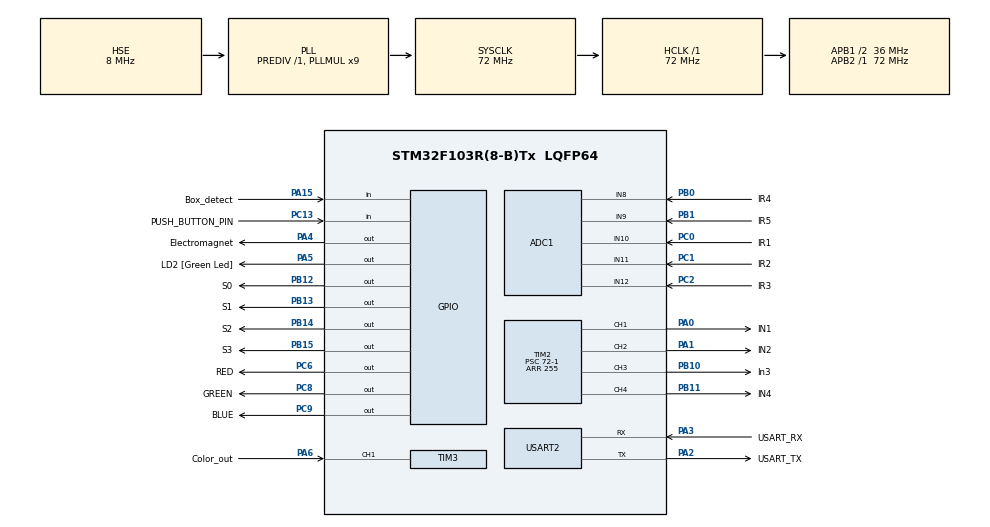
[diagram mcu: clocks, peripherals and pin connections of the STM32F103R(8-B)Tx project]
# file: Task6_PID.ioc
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ADC1.Channel-0\#ChannelRegularConversion=ADC_CHANNEL_10
ADC1.Channel-1\#ChannelRegularConversion=ADC_CHANNEL_11
ADC1.Channel-2\#ChannelRegularConversion=ADC_CHANNEL_12
ADC1.Channel-3\#ChannelRegularConversion=ADC_CHANNEL_8
ADC1.Channel-4\#ChannelRegularConversion=ADC_CHANNEL_9
ADC1.ContinuousConvMode=ENABLE
ADC1.NbrOfConversion=5
ADC1.NbrOfConversionFlag=1
ADC1.Rank-0\#ChannelRegularConversion=1
ADC1.Rank-1\#ChannelRegularConversion=2
ADC1.Rank-2\#ChannelRegularConversion=3
ADC1.Rank-3\#ChannelRegularConversion=4
ADC1.Rank-4\#ChannelRegularConversion=5
ADC1.SamplingTime-0\#ChannelRegularConversion=ADC_SAMPLETIME_55CYCLES_5
ADC1.SamplingTime-1\#ChannelRegularConversion=ADC_SAMPLETIME_55CYCLES_5
ADC1.SamplingTime-2\#ChannelRegularConversion=ADC_SAMPLETIME_55CYCLES_5
ADC1.SamplingTime-3\#ChannelRegularConversion=ADC_SAMPLETIME_55CYCLES_5
ADC1.SamplingTime-4\#ChannelRegularConversion=ADC_SAMPLETIME_55CYCLES_5
ADC1.master=1
Dma.ADC1.0.Direction=DMA_PERIPH_TO_MEMORY
Dma.ADC1.0.Instance=DMA1_Channel1
Dma.ADC1.0.MemDataAlignment=DMA_MDATAALIGN_HALFWORD
Dma.ADC1.0.MemInc=DMA_MINC_ENABLE
Dma.ADC1.0.Mode=DMA_CIRCULAR
Dma.ADC1.0.PeriphDataAlignment=DMA_PDATAALIGN_HALFWORD
Dma.ADC1.0.PeriphInc=DMA_PINC_DISABLE
Dma.ADC1.0.Priority=DMA_PRIORITY_LOW
Dma.Request0=ADC1
Mcu.Family=STM32F1
Mcu.Name=STM32F103R(8-B)Tx
Mcu.Package=LQFP64
NVIC.ADC1_2_IRQn=true\:0\:0\:false\:false\:true\:true\:true\:true
NVIC.DMA1_Channel1_IRQn=true\:0\:0\:false\:false\:true\:false\:true\:true
NVIC.PriorityGroup=NVIC_PRIORITYGROUP_4
NVIC.TIM3_IRQn=true\:0\:0\:false\:false\:true\:true\:true\:true
PA0-WKUP.GPIO_Label=IN1
PA0-WKUP.Signal=S_TIM2_CH1_ETR
PA1.GPIO_Label=IN2
PA1.Signal=S_TIM2_CH2
PA13.GPIO_Label=TMS
PA13.Mode=Serial_Wire
PA13.Signal=SYS_JTMS-SWDIO
PA14.GPIO_Label=TCK
PA14.Mode=Serial_Wire
PA14.Signal=SYS_JTCK-SWCLK
PA15.GPIO_Label=Box_detect
PA15.Signal=GPIO_Input
PA2.GPIO_Label=USART_TX
PA2.GPIO_Mode=GPIO_MODE_AF_PP
PA2.GPIO_PuPd=GPIO_NOPULL
PA2.GPIO_Speed=GPIO_SPEED_FREQ_LOW
PA2.Mode=Asynchronous
PA2.Signal=USART2_TX
PA3.GPIO_Label=USART_RX
PA3.GPIO_Mode=GPIO_MODE_AF_PP
PA3.GPIO_PuPd=GPIO_NOPULL
PA3.GPIO_Speed=GPIO_SPEED_FREQ_LOW
PA3.Mode=Asynchronous
PA3.Signal=USART2_RX
PA4.GPIO_Label=Electromagnet
PA4.Signal=GPIO_Output
PA5.GPIO_Label=LD2 [Green Led]
PA5.GPIO_ModeDefaultOutputPP=GPIO_MODE_OUTPUT_PP
PA5.GPIO_PuPd=GPIO_NOPULL
PA5.GPIO_Speed=GPIO_SPEED_FREQ_LOW
PA5.Signal=GPIO_Output
PA6.GPIO_Label=Color_out
PA6.Signal=S_TIM3_CH1
PB0.GPIO_Label=IR4
PB0.Signal=ADCx_IN8
PB1.GPIO_Label=IR5
PB1.Signal=ADCx_IN9
PB10.GPIO_Label=In3
PB10.Signal=S_TIM2_CH3
PB11.GPIO_Label=IN4
PB11.Signal=S_TIM2_CH4
PB12.GPIO_Label=S0
PB12.Signal=GPIO_Output
PB13.GPIO_Label=S1
PB13.Signal=GPIO_Output
PB14.GPIO_Label=S2
PB14.Signal=GPIO_Output
PB15.GPIO_Label=S3
PB15.Signal=GPIO_Output
PB3.GPIO_Label=SWO
PB3.Signal=SYS_JTDO-TRACESWO
PC0.GPIO_Label=IR1
PC0.Signal=ADCx_IN10
PC1.GPIO_Label=IR2
PC1.Signal=ADCx_IN11
PC13-TAMPER-RTC.GPIO_Label=PUSH_BUTTON_PIN
PC13-TAMPER-RTC.GPIO_PuPd=GPIO_PULLUP
PC13-TAMPER-RTC.Signal=GPIO_Input
PC14-OSC32_IN.Mode=LSE-External-Oscillator
PC14-OSC32_IN.Signal=RCC_OSC32_IN
PC15-OSC32_OUT.Mode=LSE-External-Oscillator
PC15-OSC32_OUT.Signal=RCC_OSC32_OUT
PC2.GPIO_Label=IR3
PC2.Signal=ADCx_IN12
PC6.GPIO_Label=RED
PC6.Signal=GPIO_Output
PC8.GPIO_Label=GREEN
PC8.Signal=GPIO_Output
PC9.GPIO_Label=BLUE
PC9.Signal=GPIO_Output
PD0-OSC_IN.Mode=HSE-External-Clock-Source
PD0-OSC_IN.Signal=RCC_OSC_IN
PD1-OSC_OUT.Mode=HSE-External-Clock-Source
PD1-OSC_OUT.Signal=RCC_OSC_OUT
ProjectManager.HeapSize=0x200
ProjectManager.StackSize=0x400
ProjectManager.TargetToolchain=STM32CubeIDE
RCC.ADCPresc=RCC_ADCPCLK2_DIV6
RCC.AHBFreq_Value=72000000
RCC.APB1CLKDivider=RCC_HCLK_DIV2
RCC.APB1Freq_Value=36000000
RCC.APB1TimFreq_Value=72000000
RCC.APB2Freq_Value=72000000
RCC.APB2TimFreq_Value=72000000
RCC.HCLKFreq_Value=72000000
RCC.PLLMUL=RCC_PLL_MUL9
RCC.PLLSourceVirtual=RCC_PLLSOURCE_HSE
RCC.RTCClockSelection=RCC_RTCCLKSOURCE_LSE
RCC.SYSCLKFreq_VALUE=72000000
RCC.SYSCLKSource=RCC_SYSCLKSOURCE_PLLCLK
RCC.USBFreq_Value=72000000
SH.ADCx_IN10.0=ADC1_IN10,IN10
SH.ADCx_IN11.0=ADC1_IN11,IN11
SH.ADCx_IN12.0=ADC1_IN12,IN12
SH.ADCx_IN8.0=ADC1_IN8,IN8
SH.ADCx_IN9.0=ADC1_IN9,IN9
SH.S_TIM2_CH1_ETR.0=TIM2_CH1,PWM Generation1 CH1
SH.S_TIM2_CH2.0=TIM2_CH2,PWM Generation2 CH2
SH.S_TIM2_CH3.0=TIM2_CH3,PWM Generation3 CH3
SH.S_TIM2_CH4.0=TIM2_CH4,PWM Generation4 CH4
SH.S_TIM3_CH1.0=TIM3_CH1,Input_Capture1_from_TI1
TIM2.Channel-PWM\ Generation1\ CH1=TIM_CHANNEL_1
TIM2.Channel-PWM\ Generation2\ CH2=TIM_CHANNEL_2
TIM2.Channel-PWM\ Generation3\ CH3=TIM_CHANNEL_3
TIM2.Channel-PWM\ Generation4\ CH4=TIM_CHANNEL_4
TIM2.Period=255
TIM2.Prescaler=72-1
TIM3.Channel-Input_Capture1_from_TI1=TIM_CHANNEL_1
USART2.VirtualMode=VM_ASYNC
board=NUCLEO-F103RB

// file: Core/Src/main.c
/*
 * Team Id: 2731
 * Author List: Mahesh, Vallari, Tushar, Saras
 * Filename: CB_TASK6_#2731
 * Theme: eYRC 2025-26: CropDrop Bot (CB)
 * Functions: main, SystemClock_Config, MX_GPIO_Init, MX_DMA_Init, MX_ADC1_Init,
 * MX_TIM2_Init, MX_TIM3_Init, MX_USART2_UART_Init, Motor_Forward, Motor_Reverse,
 * Motor_Stop, Motor_Turn_Left, Motor_Turn_Right, Motor_180_Turn,
 * Calibrate_IR_Sensors, Read_Line_Sensors, Compute_Line_Error,
 * Line_PID_Control, Print_Sensor_Binary, Set_LED_Color,
 * Handle_Object_Detection, Handle_Drop_Point, RGB_Off, RGB_Yellow, RGB_Process,
 * Error_Handler
 * Global Variables: adcBuffer, irMin, irMax, irThreshold, sensorNorm, sensorBinary,
 * robotState, currentLineType, lineError, pid variables, junction_count,
 * junction_debounced, total_delivered, hasPackage, colorRed, colorGreen, colorBlue
 */
/* USER CODE BEGIN Header */
/**
  ******************************************************************************
  * @file           : main.c
  * @brief          : CropDrop Bot - Line Following with Pick and Place
  ******************************************************************************
  * @attention
  *
  *
  * Copyright (c) 2025 STMicroelectronics.
  * All rights reserved.
  *
  * This software is licensed under terms that can be found in the LICENSE file
  * in the root directory of this software component.
  * If no LICENSE file comes with this software, it is provided AS-IS.
  *
  ******************************************************************************
  */
/* USER CODE END Header */
#include "main.h"

/* USER CODE BEGIN Includes */
#include<stdio.h>
#include<string.h>
#include "Color.h"

/* USER CODE END Includes */

/* USER CODE BEGIN PD */
#define PWM_MAX 255              // Maximum PWM value for motors

// Left Motor PWM channels (L298N)
#define LM_IN1 TIM_CHANNEL_1     // Left motor forward pin
#define LM_IN2 TIM_CHANNEL_2     // Left motor reverse pin

// Right Motor PWM channels (L298N)
#define RM_IN1 TIM_CHANNEL_3     // Right motor forward pin
#define RM_IN2 TIM_CHANNEL_4     // Right motor reverse pin

#define TURN_SPEED     110       // Speed used while turning
#define STOP_TIME_MS   1000      // Delay time for stopping

/* USER CODE END PD */

ADC_HandleTypeDef hadc1;
DMA_HandleTypeDef hdma_adc1;

TIM_HandleTypeDef htim2;
TIM_HandleTypeDef htim3;

UART_HandleTypeDef huart2;

/* USER CODE BEGIN PV */
volatile uint16_t adcBuffer[5];   // Raw ADC values from 5 IR sensors
char uartBuf[100];                // UART debug buffer

uint16_t irMin[5];                // Minimum IR calibration values
uint16_t irMax[5];                // Maximum IR calibration values
uint16_t irThreshold[5];          // Mid threshold for line detection

uint16_t sensorNorm[5];           // Normalized IR value (0–1000)
uint8_t  sensorBinary[5];         // Binary line detection (1=line)
int8_t   sensorWeight[5] = { -2, -1, 0, 1, 2 }; // Weights for PID error

uint8_t ledBlinkRequest = 0;      // LED blink flag
uint32_t ledBlinkStart = 0;       // LED blink start time

uint8_t hasPackage = 0;           // 1 if robot is carrying box
uint32_t colorRed, colorGreen, colorBlue; // Color sensor values

uint8_t junction_count = 0;       // Counts junctions passed
uint8_t junction_debounced = 0;   // Prevents double count
uint8_t total_delivered = 0;      // Total boxes delivered

typedef enum {
    DIR_STRAIGHT = 0,   // Go straight
    DIR_LEFT,          // Turn left
    DIR_RIGHT          // Turn right
} Direction_t;

typedef enum {
    STATE_PID,             // Normal line following
    STATE_PEEK_FORWARD,    // Small forward movement before turn
    STATE_STOP_BEFORE_TURN,// Not used (reserved)
    STATE_TURNING,         // Turning state
    ALL_BLACK_FORWARD,     // Forward on black
    ALL_BLACK_CHECK,       // Check dead end
    INVERSE_LINE,          // Black on white line
    STATE_OBJECT_DETECTED, // Box detected
    STATE_PICKING,         // Picking box
    STATE_FINAL_DROP       // Dropping box
} RobotState_t;

typedef enum {
    LINE_WHITE_ON_BLACK = 0, // White line on black floor
    LINE_BLACK_ON_WHITE      // Black line on white floor
} LineType_t;
LineType_t currentLineType = LINE_WHITE_ON_BLACK;
uint8_t onLine = 0;
//pid values
float lineError = 0;
float Kp = 0.25f;
float Ki = 0.002f;
float Kd = 0.2f;
float pid_P = 0, pid_I = 0, pid_D = 0;
float previousError = 0;
float pidOutput = 0;

/* Base speed settings */
uint8_t currentspeed = 50;
uint8_t baseSpeed = 130;     // cruising speed
uint8_t maxSpeed  = 200;     // safety limit
uint8_t Bval = 0;
uint8_t inSharpTurn = 0;
uint8_t bit_sensor;

/* ⭐ ADDED: Pick and Place variables */
uint8_t hasPackage = 0;
uint32_t colorRed = 0, colorGreen = 0, colorBlue = 0;
uint32_t lastPrintTick = 0;

/* ⭐ ADDED: Junction tracking variables */
uint8_t junction_count = 0;
uint8_t junction_debounced = 0;
uint8_t total_delivered = 0;    // ⭐ Delivery Sequence Tracker
uint8_t peekpattern=0;

/* ⭐ ADDED: Printf support */
int _write(int file, char *ptr, int len)
{
    HAL_UART_Transmit(&huart2, (uint8_t*)ptr, len, HAL_MAX_DELAY);
    return len;
}

/* USER CODE END PV */

void SystemClock_Config(void);
static void MX_GPIO_Init(void);
static void MX_DMA_Init(void);
static void MX_USART2_UART_Init(void);
static void MX_ADC1_Init(void);
static void MX_TIM2_Init(void);
static void MX_TIM3_Init(void);
/* USER CODE BEGIN PFP */
void Motor_180_Turn(void);
void Motor_Stop(void);
void Motor_Forward(uint8_t left_speed, uint8_t right_speed);
void Motor_Reverse(uint8_t left_speed, uint8_t right_speed);
void Motor_Turn_Left(uint8_t left_speed, uint8_t right_speed);
void Motor_Turn_Right(uint8_t left_speed, uint8_t right_speed);
void Calibrate_IR_Sensors(void);
void Read_Line_Sensors(void);
float Compute_Line_Error(void);
void Line_PID_Control(void);
void Print_Sensor_Binary(void);
void side_calibration(void);
void Handle_Object_Detection(void);
void Handle_Drop_Point(void);
/* USER CODE END PFP */

/*
 * Function Name: main
 * Input: None
 * Output: int
 * Logic:
 *  - Initializes peripherals
 *  - Calibrates IR sensors
 *  - Runs finite state machine:
 *      PID → Junction → Pick → Drop → Return
 * Example Call: Called by startup code
 */
int main(void)
{

  /* MCU Configuration--------------------------------------------------------*/

  /* Reset of all peripherals, Initializes the Flash interface and the Systick. */
  HAL_Init();

  /* Configure the system clock */
  SystemClock_Config();

  /* Initialize all configured peripherals */
  MX_GPIO_Init();
  MX_DMA_Init();
  MX_USART2_UART_Init();
  MX_ADC1_Init();
  MX_TIM2_Init();
  MX_TIM3_Init();
  /* USER CODE BEGIN 2 */
  HAL_ADC_Start_DMA(&hadc1, (uint32_t*)adcBuffer, 5);
  HAL_TIM_PWM_Start(&htim2, TIM_CHANNEL_1);
  HAL_TIM_PWM_Start(&htim2, TIM_CHANNEL_2);
  HAL_TIM_PWM_Start(&htim2, TIM_CHANNEL_3);
  HAL_TIM_PWM_Start(&htim2, TIM_CHANNEL_4);

  // ⭐ ADDED: Initialize Color Sensor
  Color_Init(&htim3);

  HAL_Delay(500);          // wait before calibration
  Calibrate_IR_Sensors();

  printf("=== CropDrop Bot Ready ===\r\n");
  /* USER CODE END 2 */

  /* Infinite loop */
  while (1)
  {

    /* USER CODE BEGIN 3 */
    Read_Line_Sensors();
//    Print_Sensor_Binary();
    lineError = Compute_Line_Error();

    if (HAL_GetTick() - lastPrintTick > 100)
    {
        Print_Sensor_Binary();
        lastPrintTick = HAL_GetTick();
    }

    if(currentspeed < baseSpeed){
        currentspeed++;
    }

    /* ========== STATE:  PID LINE FOLLOWING ========== */
    if (robotState == STATE_PID)
    {
        // ⭐ 1. Check for object detection at pickup point
        uint8_t ir_state = HAL_GPIO_ReadPin(Box_detect_GPIO_Port, Box_detect_Pin);

        // ONLY pick up if we haven't finished all 3 deliveries
        if (ir_state == 0 && !hasPackage && currentLineType == LINE_WHITE_ON_BLACK && total_delivered < 3)
        {
            robotState = STATE_OBJECT_DETECTED;
            Motor_Stop();
            HAL_Delay(200);
            continue;
        }

        // ⭐ 2. Inverse line transition (Toggle line type)
        if(bit_sensor == 0b11011 || bit_sensor == 0b10001 ||
        		bit_sensor == 0b11101 || bit_sensor == 0b10111 ||
				bit_sensor == 0b11001 || bit_sensor == 0b10011)
        {
           if (currentLineType == LINE_WHITE_ON_BLACK)
        	   currentLineType = LINE_BLACK_ON_WHITE;
           else
             currentLineType = LINE_WHITE_ON_BLACK;
           	   printf("Line type switched!\r\n");

           	   // ⭐ FIX 1: Shorter jump to prevent drifting off the line
//                    Motor_Forward(baseSpeed, baseSpeed);
//                    HAL_Delay(60);
           	   robotState = STATE_PID;
           	   pid_I = 0;
           	   previousError = 0;
           	   junction_count = 0;
           	   junction_debounced = 1;
                    // ⭐ FIX 2: Force an immediate fresh sensor read so PID calculates correctly
           	   Read_Line_Sensors();
           	   lineError = Compute_Line_Error();
           	   continue;
        }

        // ⭐ 3. INVERSE LINE LOGIC (Black line on White floor)
        if (currentLineType == LINE_BLACK_ON_WHITE)
        {
            // Reset debounce if safely on a straight line
            if (bit_sensor == 0b00100 || bit_sensor == 0b01110 || bit_sensor == 0b00000) {
                junction_debounced = 0;
            }

            // Drop Box Detection
            // Check for drop box ONLY if we have passed the required junction
            if (hasPackage) {
                uint8_t valid_drop = 0;
                if (total_delivered == 0 && junction_count >= 2) valid_drop = 1; // Box 1 -> Point C
                if (total_delivered == 1 && junction_count >= 3) valid_drop = 1; // Box 2 -> Point D
                if (total_delivered == 2 && junction_count >= 1) valid_drop = 1; // Box 3 -> Point B

                if (valid_drop && (bit_sensor == 0b01100)) {
                    printf("Black Drop Box Detected!\r\n");
                    Motor_Stop();
                    robotState = STATE_FINAL_DROP;
                    stateStartTime = HAL_GetTick();
                    continue;
                }
            }

            // Junction Detection (Left, Right, or T-junction)
            if (!junction_debounced && (
                bit_sensor == 0b11100 || bit_sensor == 0b11110 || // Left
                bit_sensor == 0b00111 || bit_sensor == 0b01111 || // Right
                bit_sensor == 0b11111))                           // Full Cross / T
            {
                // If heading to drop box, blind the bot to junctions after making the final turn
                uint8_t blind = 0;
                if (hasPackage) {
                    if (total_delivered == 0 && junction_count >= 2) blind = 1;
                    if (total_delivered == 1 && junction_count >= 3) blind = 1;
                    if (total_delivered == 2 && junction_count >= 1) blind = 1;
                }
                if (blind) {
                    Line_PID_Control();
                    continue;
                }

                junction_count++;
                junction_debounced = 1;
                printf("Junction %d detected!\r\n", junction_count);

                if (hasPackage) {
                    // ⭐ BOX 1 ROUTING (Point C)
                    if (total_delivered == 0) {
                        if (junction_count == 2) {
                            printf("2nd Junction! Taking Left to Point C.\r\n");
                            Motor_Stop(); HAL_Delay(50);
                            storedDirection = DIR_LEFT;
                            stateStartTime = HAL_GetTick();
                            robotState = STATE_PEEK_FORWARD;
                            continue;
                        } else {
                            printf("Junction 1: Going straight\r\n");
                            Motor_Forward(baseSpeed, baseSpeed); HAL_Delay(150);
                            continue;
                        }
                    }
                    // ⭐ BOX 2 ROUTING (Point D)
                    else if (total_delivered == 1) {
                        if (junction_count == 3) {
                            printf("3rd Junction! Taking Right to Point D.\r\n");
                            Motor_Stop(); HAL_Delay(50);
                            storedDirection = DIR_RIGHT;
                            stateStartTime = HAL_GetTick();
                            robotState = STATE_PEEK_FORWARD;
                            continue;
                        } else {
                            printf("Junction %d: Going straight\r\n", junction_count);
                            Motor_Forward(baseSpeed, baseSpeed); HAL_Delay(150);
                            continue;
                        }
                    }
                    // ⭐ BOX 3 ROUTING (Point B)
                    else if (total_delivered == 2) {
                        if (junction_count == 1) {
                            printf("1st Junction! Taking Right to Point B.\r\n");
                            Motor_Stop(); HAL_Delay(50);
                            storedDirection = DIR_RIGHT;
                            stateStartTime = HAL_GetTick();
                            robotState = STATE_PEEK_FORWARD;
                            continue;
                        }
                    }
                } else {
                    // ⭐ RETURNING EMPTY
                    if (junction_count == 1) {
                        if (total_delivered == 1) {
                            printf("Returning from Point C! Taking Right.\r\n");
                            Motor_Stop(); HAL_Delay(50); storedDirection = DIR_RIGHT; stateStartTime = HAL_GetTick(); robotState = STATE_PEEK_FORWARD; continue;
                        }
                        else if (total_delivered == 2) {
                            printf("Returning from Point D! Taking Left.\r\n");
                            Motor_Stop(); HAL_Delay(50); storedDirection = DIR_LEFT; stateStartTime = HAL_GetTick(); robotState = STATE_PEEK_FORWARD; continue;
                        }
                        else if (total_delivered == 3) {
                            printf("Returning from Point B! Taking Left.\r\n");
                            Motor_Stop(); HAL_Delay(50); storedDirection = DIR_LEFT; stateStartTime = HAL_GetTick(); robotState = STATE_PEEK_FORWARD; continue;
                        }
                    } else {
                        printf("Return Trip: Ignoring junction, going straight\r\n");
                        Motor_Forward(baseSpeed, baseSpeed); HAL_Delay(150);
                        continue;
                    }
                }
            }

            // Normal PID for Inverse Line
            Line_PID_Control();
            continue;
        }

        // ⭐ 4. NORMAL LINE LOGIC (White line on Black floor)
        if (currentLineType == LINE_WHITE_ON_BLACK)
        {

            // ⭐ FINAL STOP & NODE A CROSSING
            if (bit_sensor == 0b01110) {
                if (total_delivered == 3 && !hasPackage) {
                    printf("MISSION ACCOMPLISHED! Returned to Point A.\r\n");
                    while(1) {
                        Motor_Stop();
                        // Flash LEDs rapidly to celebrate
                        HAL_GPIO_WritePin(GPIOC, RED_Pin | GREEN_Pin | BLUE_Pin, GPIO_PIN_SET);
                        HAL_Delay(200);
                        HAL_GPIO_WritePin(GPIOC, RED_Pin | GREEN_Pin | BLUE_Pin, GPIO_PIN_RESET);
                        HAL_Delay(200);
                    }
                } else {
                    // We are driving past Node A to get the next box or deliver one.
                    // Jump over it safely so it isn't mistaken for a sharp corner!
                    Motor_Forward(baseSpeed, baseSpeed);
                    HAL_Delay(150);
                    continue;
                }
            }

            // Sharp left turn detection
            if (bit_sensor == 0b11100 || bit_sensor == 0b11000 || bit_sensor == 0b10000 || bit_sensor == 0b11110)
            {
                storedDirection = DIR_LEFT;
                robotState = STATE_PEEK_FORWARD;
                stateStartTime = HAL_GetTick();
                continue;
            }
            // Sharp right turn detection
            if (bit_sensor == 0b00111 || bit_sensor == 0b00011 || bit_sensor == 0b00001 || bit_sensor == 0b01111)
            {
                storedDirection = DIR_RIGHT;
                robotState = STATE_PEEK_FORWARD;
                stateStartTime = HAL_GetTick();
                continue;
            }
        	// Detect "No Line" (All sensors read 0 / Black)
        	if (bit_sensor == 0b00000) {
        		robotState = ALL_BLACK_CHECK;
        		stateStartTime = HAL_GetTick();
        		continue;
        	}

        }

        // Normal PID control for White on Black
        Line_PID_Control();
    } // <-- (THIS WAS THE MISSING CLOSING BRACE!)

    else if (robotState == ALL_BLACK_CHECK)
    {
            // 1. "Peek" forward
    	 	Motor_Forward(80, 80);
    	 	HAL_Delay(100);
    		Motor_Stop();
            HAL_Delay(100);

            // 2. Dash Line Condition: If we find the line again quickly, it was just a gap!
            if (bit_sensor != 0b00000) {
                robotState = STATE_PID;
                pid_I = 0;
                previousError = 0;
                continue;
            }

            // 3. Dead End Condition: If X milliseconds pass and STILL no line, turn around.
            // (You may need to tune '250' depending on your bot's speed and the gap size)
            if (HAL_GetTick() - stateStartTime > 250) {
                Motor_Stop();
                HAL_Delay(100); // Brief pause to stabilize
                printf("Dead End Detected! Turning around...\r\n");

                // Execute your existing 180 degree turn function
                Motor_180_Turn();

                // Reset and go back to normal line following
                robotState = STATE_PID;
                pid_I = 0;
                previousError = 0;
            }
            continue;
    }
    /* ⭐ ADDED: STATE: OBJECT DETECTED */
    else if (robotState == STATE_OBJECT_DETECTED)
    {
        Handle_Object_Detection();
        continue;
    }

    /* ⭐ ADDED: STATE: PICKING */
    else if (robotState == STATE_PICKING)
    {
        if (HAL_GetTick() - stateStartTime > 1000)  // Wait 1 sec for pickup
        {
            printf("Package picked!\r\n");
            hasPackage = 1;
            robotState = STATE_PID;
            pid_I = 0;
            previousError = 0;
        }
        continue;
    }

    /* ⭐ FINAL STATE: FINAL DROP (ALL BLACK ZONE) */
    else if (robotState == STATE_FINAL_DROP)
    {
        Motor_Stop();

        // safety delay to stabilize bot
        if (HAL_GetTick() - stateStartTime < 300)
            continue;

        printf("Dropping package at destination...\r\n");
        HAL_GPIO_WritePin(Electromagnet_GPIO_Port, Electromagnet_Pin, GPIO_PIN_RESET);   // MAGNET OFF

        // ⭐ Stop for 3 seconds
        HAL_Delay(3000);

        total_delivered++; // Count the delivery!

        printf("Package %d Dropped. Turning 180...\r\n", total_delivered);

        // Turn 180 and return
        Motor_180_Turn();

        hasPackage = 0;
        junction_count = 0;
        junction_debounced = 0;

        // Resume PID line following (it will track back to the white-on-black zone)
        robotState = STATE_PID;
        pid_I = 0;
        previousError = 0;
        continue;
    }

    /* ========== STATE: INVERSE LINE (STOP) ========== */
    else if(robotState == INVERSE_LINE)
    {
        Motor_Stop();
        HAL_GPIO_WritePin(Electromagnet_GPIO_Port, Electromagnet_Pin, GPIO_PIN_RESET);
        printf("End of track!\r\n");
        continue;
    }

    /* ========== STATE:  PEEK FORWARD ========== */
    /* ========== STATE:  PEEK FORWARD ========== */
        else if (robotState == STATE_PEEK_FORWARD)
        {
            // ⭐ FIX 3: Intercept false turns! If we hit the transition at an angle,
            // it triggers a turn. This catches it, switches modes, and aborts the turn.
            if(bit_sensor == 0b11011 || bit_sensor == 0b10001 ||
               bit_sensor == 0b11101 || bit_sensor == 0b10111 ||
               bit_sensor == 0b11001 || bit_sensor == 0b10011)
            {
                if (currentLineType == LINE_WHITE_ON_BLACK) currentLineType = LINE_BLACK_ON_WHITE;
                else currentLineType = LINE_WHITE_ON_BLACK;

                printf("Transition hit at angle! Aborting turn.\r\n");

//                Motor_Forward(baseSpeed, baseSpeed);
//                HAL_Delay(60);

                robotState = STATE_PID;
                pid_I = 0; previousError = 0;
                junction_count = 0; junction_debounced = 1;

                Read_Line_Sensors();
                lineError = Compute_Line_Error();
                continue;
            }

            Motor_Forward(80, 80);

            if (HAL_GetTick() - stateStartTime > 100)
            {
                robotState = STATE_TURNING;
                stateStartTime = HAL_GetTick();
            }
            continue;
        }

    /* ========== STATE: TURNING ========== */
    else if (robotState == STATE_TURNING && currentLineType == LINE_WHITE_ON_BLACK)
    {
        if (storedDirection == DIR_LEFT)
            Motor_Turn_Left(50, 180);
        else
            Motor_Turn_Right(180, 50);

        if (HAL_GetTick() - stateStartTime > 150) {
            if (sensorBinary[2])   // center sensor found line
            {
                Motor_Stop();
                pid_I = 0;
                previousError = 0;
                storedDirection = DIR_STRAIGHT;
                robotState = STATE_PID;
            }
        }
        continue;
    }
    else if (robotState == STATE_TURNING)
    {
        if (storedDirection == DIR_LEFT)
            Motor_Turn_Left(baseSpeed, baseSpeed);
        else
            Motor_Turn_Right(baseSpeed, baseSpeed);

        if (HAL_GetTick() - stateStartTime > 200) {
            if (sensorBinary[2])   // center sensor found line
            {
                Motor_Stop();
                pid_I = 0;
                previousError = 0;
                storedDirection = DIR_STRAIGHT;
                robotState = STATE_PID;
            }
        }
        continue;
    }

  } // <-- End of while(1) loop
  /* USER CODE END 3 */
}

void SystemClock_Config(void)
{
  RCC_OscInitTypeDef RCC_OscInitStruct = {0};
  RCC_ClkInitTypeDef RCC_ClkInitStruct = {0};
  RCC_PeriphCLKInitTypeDef PeriphClkInit = {0};

  /** Initializes the RCC Oscillators according to the specified parameters
  * in the RCC_OscInitTypeDef structure.
  */
  RCC_OscInitStruct.OscillatorType = RCC_OSCILLATORTYPE_HSE;
  RCC_OscInitStruct.HSEState = RCC_HSE_BYPASS;
  RCC_OscInitStruct.HSEPredivValue = RCC_HSE_PREDIV_DIV1;
  RCC_OscInitStruct.HSIState = RCC_HSI_ON;
  RCC_OscInitStruct.PLL.PLLState = RCC_PLL_ON;
  RCC_OscInitStruct.PLL.PLLSource = RCC_PLLSOURCE_HSE;
  RCC_OscInitStruct.PLL.PLLMUL = RCC_PLL_MUL9;
  if (HAL_RCC_OscConfig(&RCC_OscInitStruct) != HAL_OK)
  {
    Error_Handler();
  }

  /** Initializes the CPU, AHB and APB buses clocks
  */
  RCC_ClkInitStruct.ClockType = RCC_CLOCKTYPE_HCLK|RCC_CLOCKTYPE_SYSCLK
                              |RCC_CLOCKTYPE_PCLK1|RCC_CLOCKTYPE_PCLK2;
  RCC_ClkInitStruct.SYSCLKSource = RCC_SYSCLKSOURCE_PLLCLK;
  RCC_ClkInitStruct.AHBCLKDivider = RCC_SYSCLK_DIV1;
  RCC_ClkInitStruct.APB1CLKDivider = RCC_HCLK_DIV2;
  RCC_ClkInitStruct.APB2CLKDivider = RCC_HCLK_DIV1;

  if (HAL_RCC_ClockConfig(&RCC_ClkInitStruct, FLASH_LATENCY_2) != HAL_OK)
  {
    Error_Handler();
  }
  PeriphClkInit.PeriphClockSelection = RCC_PERIPHCLK_ADC;
  PeriphClkInit.AdcClockSelection = RCC_ADCPCLK2_DIV6;
  if (HAL_RCCEx_PeriphCLKConfig(&PeriphClkInit) != HAL_OK)
  {
    Error_Handler();
  }
}

static void MX_ADC1_Init(void)
{

  ADC_ChannelConfTypeDef sConfig = {0};

  /** Common config
  */
  hadc1.Instance = ADC1;
  hadc1.Init.ScanConvMode = ADC_SCAN_ENABLE;
  hadc1.Init.ContinuousConvMode = ENABLE;
  hadc1.Init.DiscontinuousConvMode = DISABLE;
  hadc1.Init.ExternalTrigConv = ADC_SOFTWARE_START;
  hadc1.Init.DataAlign = ADC_DATAALIGN_RIGHT;
  hadc1.Init.NbrOfConversion = 5;
  if (HAL_ADC_Init(&hadc1) != HAL_OK)
  {
    Error_Handler();
  }

  /** Configure Regular Channel
  */
  sConfig.Channel = ADC_CHANNEL_10;
  sConfig.Rank = ADC_REGULAR_RANK_1;
  sConfig.SamplingTime = ADC_SAMPLETIME_55CYCLES_5;
  if (HAL_ADC_ConfigChannel(&hadc1, &sConfig) != HAL_OK)
  {
    Error_Handler();
  }

  /** Configure Regular Channel
  */
  sConfig.Channel = ADC_CHANNEL_11;
  sConfig.Rank = ADC_REGULAR_RANK_2;
  if (HAL_ADC_ConfigChannel(&hadc1, &sConfig) != HAL_OK)
  {
    Error_Handler();
  }

  /** Configure Regular Channel
  */
  sConfig.Channel = ADC_CHANNEL_12;
  sConfig.Rank = ADC_REGULAR_RANK_3;
  if (HAL_ADC_ConfigChannel(&hadc1, &sConfig) != HAL_OK)
  {
    Error_Handler();
  }

  /** Configure Regular Channel
  */
  sConfig.Channel = ADC_CHANNEL_8;
  sConfig.Rank = ADC_REGULAR_RANK_4;
  if (HAL_ADC_ConfigChannel(&hadc1, &sConfig) != HAL_OK)
  {
    Error_Handler();
  }

  /** Configure Regular Channel
  */
  sConfig.Channel = ADC_CHANNEL_9;
  sConfig.Rank = ADC_REGULAR_RANK_5;
  if (HAL_ADC_ConfigChannel(&hadc1, &sConfig) != HAL_OK)
  {
    Error_Handler();
  }

}

static void MX_TIM2_Init(void)
{

  TIM_MasterConfigTypeDef sMasterConfig = {0};
  TIM_OC_InitTypeDef sConfigOC = {0};

  htim2.Instance = TIM2;
  htim2.Init.Prescaler = 72-1;
  htim2.Init.CounterMode = TIM_COUNTERMODE_UP;
  htim2.Init.Period = 255;
  htim2.Init.ClockDivision = TIM_CLOCKDIVISION_DIV1;
  htim2.Init.AutoReloadPreload = TIM_AUTORELOAD_PRELOAD_DISABLE;
  if (HAL_TIM_PWM_Init(&htim2) != HAL_OK)
  {
    Error_Handler();
  }
  sMasterConfig.MasterOutputTrigger = TIM_TRGO_RESET;
  sMasterConfig.MasterSlaveMode = TIM_MASTERSLAVEMODE_DISABLE;
  if (HAL_TIMEx_MasterConfigSynchronization(&htim2, &sMasterConfig) != HAL_OK)
  {
    Error_Handler();
  }
  sConfigOC.OCMode = TIM_OCMODE_PWM1;
  sConfigOC.Pulse = 0;
  sConfigOC.OCPolarity = TIM_OCPOLARITY_HIGH;
  sConfigOC.OCFastMode = TIM_OCFAST_DISABLE;
  if (HAL_TIM_PWM_ConfigChannel(&htim2, &sConfigOC, TIM_CHANNEL_1) != HAL_OK)
  {
    Error_Handler();
  }
  if (HAL_TIM_PWM_ConfigChannel(&htim2, &sConfigOC, TIM_CHANNEL_2) != HAL_OK)
  {
    Error_Handler();
  }
  if (HAL_TIM_PWM_ConfigChannel(&htim2, &sConfigOC, TIM_CHANNEL_3) != HAL_OK)
  {
    Error_Handler();
  }
  if (HAL_TIM_PWM_ConfigChannel(&htim2, &sConfigOC, TIM_CHANNEL_4) != HAL_OK)
  {
    Error_Handler();
  }
  HAL_TIM_MspPostInit(&htim2);

}

static void MX_TIM3_Init(void)
{

  TIM_MasterConfigTypeDef sMasterConfig = {0};
  TIM_IC_InitTypeDef sConfigIC = {0};

  htim3.Instance = TIM3;
  htim3.Init.Prescaler = 0;
  htim3.Init.CounterMode = TIM_COUNTERMODE_UP;
  htim3.Init.Period = 65535;
  htim3.Init.ClockDivision = TIM_CLOCKDIVISION_DIV1;
  htim3.Init.AutoReloadPreload = TIM_AUTORELOAD_PRELOAD_DISABLE;
  if (HAL_TIM_IC_Init(&htim3) != HAL_OK)
  {
    Error_Handler();
  }
  sMasterConfig.MasterOutputTrigger = TIM_TRGO_RESET;
  sMasterConfig.MasterSlaveMode = TIM_MASTERSLAVEMODE_DISABLE;
  if (HAL_TIMEx_MasterConfigSynchronization(&htim3, &sMasterConfig) != HAL_OK)
  {
    Error_Handler();
  }
  sConfigIC.ICPolarity = TIM_INPUTCHANNELPOLARITY_RISING;
  sConfigIC.ICSelection = TIM_ICSELECTION_DIRECTTI;
  sConfigIC.ICPrescaler = TIM_ICPSC_DIV1;
  sConfigIC.ICFilter = 0;
  if (HAL_TIM_IC_ConfigChannel(&htim3, &sConfigIC, TIM_CHANNEL_1) != HAL_OK)
  {
    Error_Handler();
  }

}

static void MX_USART2_UART_Init(void)
{

  huart2.Instance = USART2;
  huart2.Init.BaudRate = 115200;
  huart2.Init.WordLength = UART_WORDLENGTH_8B;
  huart2.Init.StopBits = UART_STOPBITS_1;
  huart2.Init.Parity = UART_PARITY_NONE;
  huart2.Init.Mode = UART_MODE_TX_RX;
  huart2.Init.HwFlowCtl = UART_HWCONTROL_NONE;
  huart2.Init.OverSampling = UART_OVERSAMPLING_16;
  if (HAL_UART_Init(&huart2) != HAL_OK)
  {
    Error_Handler();
  }

}

static void MX_DMA_Init(void)
{

  /* DMA controller clock enable */
  __HAL_RCC_DMA1_CLK_ENABLE();

  /* DMA interrupt init */
  /* DMA1_Channel1_IRQn interrupt configuration */
  HAL_NVIC_SetPriority(DMA1_Channel1_IRQn, 0, 0);
  HAL_NVIC_EnableIRQ(DMA1_Channel1_IRQn);

}

static void MX_GPIO_Init(void)
{
  GPIO_InitTypeDef GPIO_InitStruct = {0};

  /* GPIO Ports Clock Enable */
  __HAL_RCC_GPIOC_CLK_ENABLE();
  __HAL_RCC_GPIOD_CLK_ENABLE();
  __HAL_RCC_GPIOA_CLK_ENABLE();
  __HAL_RCC_GPIOB_CLK_ENABLE();

  /*Configure GPIO pin Output Level */
  HAL_GPIO_WritePin(GPIOA, Electromagnet_Pin|LD2_Pin, GPIO_PIN_RESET);

  /*Configure GPIO pin Output Level */
  HAL_GPIO_WritePin(GPIOB, S0_Pin|S1_Pin|S2_Pin|S3_Pin, GPIO_PIN_RESET);

  /*Configure GPIO pin Output Level */
  HAL_GPIO_WritePin(GPIOC, RED_Pin|GREEN_Pin|BLUE_Pin, GPIO_PIN_RESET);

  /*Configure GPIO pin : PUSH_BUTTON_PIN_Pin */
  GPIO_InitStruct.Pin = PUSH_BUTTON_PIN_Pin;
  GPIO_InitStruct.Mode = GPIO_MODE_INPUT;
  GPIO_InitStruct.Pull = GPIO_PULLUP;
  HAL_GPIO_Init(PUSH_BUTTON_PIN_GPIO_Port, &GPIO_InitStruct);

  /*Configure GPIO pins : Electromagnet_Pin LD2_Pin */
  GPIO_InitStruct.Pin = Electromagnet_Pin|LD2_Pin;
  GPIO_InitStruct.Mode = GPIO_MODE_OUTPUT_PP;
  GPIO_InitStruct.Pull = GPIO_NOPULL;
  GPIO_InitStruct.Speed = GPIO_SPEED_FREQ_LOW;
  HAL_GPIO_Init(GPIOA, &GPIO_InitStruct);

  /*Configure GPIO pins : S0_Pin S1_Pin S2_Pin S3_Pin */
  GPIO_InitStruct.Pin = S0_Pin|S1_Pin|S2_Pin|S3_Pin;
  GPIO_InitStruct.Mode = GPIO_MODE_OUTPUT_PP;
  GPIO_InitStruct.Pull = GPIO_NOPULL;
  GPIO_InitStruct.Speed = GPIO_SPEED_FREQ_LOW;
  HAL_GPIO_Init(GPIOB, &GPIO_InitStruct);

  /*Configure GPIO pins : RED_Pin GREEN_Pin BLUE_Pin */
  GPIO_InitStruct.Pin = RED_Pin|GREEN_Pin|BLUE_Pin;
  GPIO_InitStruct.Mode = GPIO_MODE_OUTPUT_PP;
  GPIO_InitStruct.Pull = GPIO_NOPULL;
  GPIO_InitStruct.Speed = GPIO_SPEED_FREQ_LOW;
  HAL_GPIO_Init(GPIOC, &GPIO_InitStruct);

  /*Configure GPIO pin : Box_detect_Pin */
  GPIO_InitStruct.Pin = Box_detect_Pin;
  GPIO_InitStruct.Mode = GPIO_MODE_INPUT;
  GPIO_InitStruct.Pull = GPIO_NOPULL;
  HAL_GPIO_Init(Box_detect_GPIO_Port, &GPIO_InitStruct);

}

/* USER CODE BEGIN 4 */
/*
 * Function Name: Motor_180_Turn
 * Input: None
 * Output: None
 * Logic:
 *  - Rotates robot until center sensor detects line again
 * Example Call: Motor_180_Turn();
 */
void Motor_180_Turn(void) {
    Motor_Turn_Right(TURN_SPEED, TURN_SPEED);
    HAL_Delay(1350);

    while (1) {
        Motor_Turn_Right(TURN_SPEED, TURN_SPEED);
        Read_Line_Sensors();

        if (sensorBinary[2] == 1) {
            Motor_Stop();
            HAL_Delay(200);
            break;
        }
    }
}

/*
 * Function Name: Motor_Stop
 * Input: None
 * Output: None
 * Logic: Stops both motors by setting PWM to zero
 * Example Call: Motor_Stop();
 */
void Motor_Stop(void)
{
    __HAL_TIM_SET_COMPARE(&htim2, LM_IN1, 0);
    __HAL_TIM_SET_COMPARE(&htim2, LM_IN2, 0);
    __HAL_TIM_SET_COMPARE(&htim2, RM_IN1, 0);
    __HAL_TIM_SET_COMPARE(&htim2, RM_IN2, 0);
}
/*
 * Function Name: Motor_Forward
 * Input: left_speed, right_speed (0–255)
 * Output: None
 * Logic: Runs both motors forward using PWM
 * Example Call: Motor_Forward(120,120);
 */
void Motor_Forward(uint8_t left_speed, uint8_t right_speed)
{
    __HAL_TIM_SET_COMPARE(&htim2, LM_IN1, left_speed);
    __HAL_TIM_SET_COMPARE(&htim2, LM_IN2, 0);
    __HAL_TIM_SET_COMPARE(&htim2, RM_IN1, right_speed);
    __HAL_TIM_SET_COMPARE(&htim2, RM_IN2, 0);
}
/*
 * Function Name: Motor_Reverse
 * Input: left_speed, right_speed (0–255)
 * Output: None
 * Logic: Runs both motors in reverse direction using PWM
 * Example Call: Motor_Reverse(100,100);
 */
void Motor_Reverse(uint8_t left_speed, uint8_t right_speed)
{
    __HAL_TIM_SET_COMPARE(&htim2, LM_IN1, 0);
    __HAL_TIM_SET_COMPARE(&htim2, LM_IN2, left_speed);
    __HAL_TIM_SET_COMPARE(&htim2, RM_IN1, 0);
    __HAL_TIM_SET_COMPARE(&htim2, RM_IN2, right_speed);
}
/*
 * Function Name: Motor_Turn_Left
 * Input: left_speed, right_speed (0–255)
 * Output: None
 * Logic: Turns robot left by reversing left motor and forwarding right motor
 * Example Call: Motor_Turn_Left(80,150);
 */
void Motor_Turn_Left(uint8_t left_speed, uint8_t right_speed)
{
    __HAL_TIM_SET_COMPARE(&htim2, LM_IN1, 0);
    __HAL_TIM_SET_COMPARE(&htim2, LM_IN2, left_speed);
    __HAL_TIM_SET_COMPARE(&htim2, RM_IN1, right_speed);
    __HAL_TIM_SET_COMPARE(&htim2, RM_IN2, 0);
}
/*
 * Function Name: Motor_Turn_Right
 * Input: left_speed, right_speed (0–255)
 * Output: None
 * Logic: Turns robot right by forwarding left motor and reversing right motor
 * Example Call: Motor_Turn_Right(150,80);
 */
void Motor_Turn_Right(uint8_t left_speed, uint8_t right_speed)
{
    __HAL_TIM_SET_COMPARE(&htim2, LM_IN1, left_speed);
    __HAL_TIM_SET_COMPARE(&htim2, LM_IN2, 0);
    __HAL_TIM_SET_COMPARE(&htim2, RM_IN1, 0);
    __HAL_TIM_SET_COMPARE(&htim2, RM_IN2, right_speed);
}
/*
 * Function Name: Calibrate_IR_Sensors
 * Input: None
 * Output: None
 * Logic:
 *  - Rotates robot
 *  - Stores min and max ADC values
 *  - Computes threshold for each sensor
 * Example Call: Calibrate_IR_Sensors();
 */
void Calibrate_IR_Sensors(void)
{
    for (int i = 0; i < 5; i++)
    {
        irMin[i] = adcBuffer[i];
        irMax[i] = adcBuffer[i];
    }

    uint32_t startTime = HAL_GetTick();

    while (HAL_GetTick() - startTime < 4000)
    {
        Motor_Turn_Left(100, 100);

        for (int i = 0; i < 5; i++)
        {
            uint16_t val = adcBuffer[i];
            if (val < irMin[i]) irMin[i] = val;
            if (val > irMax[i]) irMax[i] = val;
        }

        HAL_Delay(2);
    }

    Motor_Stop();

    for (int i = 0; i < 5; i++)
    {
        irThreshold[i] = (irMin[i] + irMax[i]) / 2;
    }

    while(1){
    	Bval = HAL_GPIO_ReadPin(PUSH_BUTTON_PIN_GPIO_Port, PUSH_BUTTON_PIN_Pin);
    	 if(Bval == 0){
    		 HAL_Delay(50);  // Debounce
    		 break;
    	 }
    	 HAL_Delay(10);
    }
}
/*
 * Function Name: Read_Line_Sensors
 * Input: None
 * Output: None
 * Logic:
 *  - Reads ADC buffer
 *  - Normalizes values
 *  - Generates binary line pattern
 * Example Call: Read_Line_Sensors();
 */
void Read_Line_Sensors(void)
{
    onLine = 0;

    for (int i = 0; i < 5; i++)
    {
        uint16_t raw = adcBuffer[i];

        if (raw <= irMin[i])
            sensorNorm[i] = 0;
        else if (raw >= irMax[i])
            sensorNorm[i] = 1000;
        else
            sensorNorm[i] = (uint16_t)(
                ((raw - irMin[i]) * 1000UL) / (irMax[i] - irMin[i])
            );

        if (currentLineType == LINE_WHITE_ON_BLACK)
        {
            sensorBinary[i] = (raw > irThreshold[i]) ? 1 : 0;
        }
        else
        {
            sensorBinary[i] = (raw > irThreshold[i]) ? 0 : 1;
            sensorNorm[i] = 1000 - sensorNorm[i];
        }

        if (sensorBinary[i])
            onLine = 1;
    }
}
/*
 * Function Name: Compute_Line_Error
 * Input: None
 * Output: float (error)
 * Logic:
 *  - Uses weighted average method
 *  - Converts binary sensor pattern to error
 * Example Call: err = Compute_Line_Error();
 */
float Compute_Line_Error(void)
{
    int activeSensors = 0;
    float errorSum = 0;
    bit_sensor = 0;

    for (int i = 0; i < 5; i++)
    {
        if (sensorBinary[i])
        {
            errorSum += sensorWeight[i] * sensorNorm[i];
            bit_sensor |= (sensorBinary[i] << (4 - i));
            activeSensors++;
        }
    }

    if (activeSensors == 0)
    {
        return previousError;
    }

    return errorSum / activeSensors;
}
/*
 * Function Name: Line_PID_Control
 * Input: None
 * Output: None
 * Logic:
 *  - Computes P, I, D terms
 *  - Adjusts motor speed
 * Example Call: Line_PID_Control();
 */
void Line_PID_Control(void)
{
    pid_P = lineError;
    pid_I += lineError;

    if (pid_I > 300)  pid_I = 300;
    if (pid_I < -300) pid_I = -300;

    pid_D = lineError - previousError;

    pidOutput = (Kp * pid_P) + (Ki * pid_I) + (Kd * pid_D);
    previousError = lineError;

    int leftSpeed  = baseSpeed + pidOutput;
    int rightSpeed = baseSpeed - pidOutput;

    if (leftSpeed > maxSpeed)  leftSpeed = maxSpeed;
    if (leftSpeed < 0)         leftSpeed = 0;
    if (rightSpeed > maxSpeed) rightSpeed = maxSpeed;
    if (rightSpeed < 0)        rightSpeed = 0;

    Motor_Forward((uint8_t)leftSpeed, (uint8_t)rightSpeed);
}
/*
 * Function Name: Print_Sensor_Binary
 * Input: None
 * Output: None
 * Logic: Prints IR sensor binary pattern and PID error on UART
 * Example Call: Print_Sensor_Binary();
 */
void Print_Sensor_Binary(void)
{
	int16_t err_i = (int16_t)(lineError * 100);

	    int len = snprintf(uartBuf, sizeof(uartBuf),
	        "BIN:%d%d%d%d%d | on:%d | err:%d\r\n",
	        sensorBinary[0],
	        sensorBinary[1],
	        sensorBinary[2],
	        sensorBinary[3],
	        sensorBinary[4],
	        onLine,
	        err_i
	    );

	    HAL_UART_Transmit(&huart2, (uint8_t*)uartBuf, len, HAL_MAX_DELAY);
}
/*
 * Function Name: Print_Sensor_Binary
 * Input: None
 * Output: None
 * Logic: Prints IR sensor binary pattern and PID error on UART
 * Example Call: Print_Sensor_Binary();
 */
void Set_LED_Color(GPIO_PinState red, GPIO_PinState green, GPIO_PinState blue) {
    HAL_GPIO_WritePin(GPIOC, RED_Pin, red);
    HAL_GPIO_WritePin(GPIOC, GREEN_Pin, green);
    HAL_GPIO_WritePin(GPIOC, BLUE_Pin, blue);
}
/*
 * Function Name: Handle_Object_Detection
 * Input: None
 * Output: None
 * Logic:
 *  - Reads color sensor
 *  - Identifies box color
 *  - Turns ON electromagnet
 *  - Updates delivery logic
 * Example Call: Handle_Object_Detection();
 */
void Handle_Object_Detection(void)
{

	colorRed   = Color_ReadRed();
	colorGreen = Color_ReadGreen();
	colorBlue  = Color_ReadBlue();

	printf("Color:  R=%lu G=%lu B=%lu\r\n", colorRed, colorGreen, colorBlue);
	Set_LED_Color(GPIO_PIN_SET, GPIO_PIN_SET, GPIO_PIN_SET);

	if (colorRed < 600 && colorGreen < 600 && colorBlue < 600)

	{
		HAL_GPIO_WritePin(Electromagnet_GPIO_Port, Electromagnet_Pin, GPIO_PIN_RESET);
		printf("CLEAR object - skipping\r\n");
		robotState = STATE_PID;
		return;
	}

	HAL_GPIO_WritePin(Electromagnet_GPIO_Port, Electromagnet_Pin, GPIO_PIN_SET);

	const char* color_name;
	if (colorRed > colorBlue && colorRed > (colorGreen * 0.4)) {
		color_name = "RED";
		Set_LED_Color(GPIO_PIN_RESET, GPIO_PIN_SET, GPIO_PIN_SET);
	}
	else if (colorGreen > colorRed && colorGreen > colorBlue) {
		color_name = "GREEN";
		Set_LED_Color(GPIO_PIN_SET, GPIO_PIN_RESET, GPIO_PIN_SET);
	}
	else if (colorBlue > colorGreen && colorBlue > colorRed) {
		color_name = "BLUE";
		Set_LED_Color(GPIO_PIN_SET, GPIO_PIN_SET, GPIO_PIN_RESET);
	}

	printf("Picking %s box\r\n", color_name);

	HAL_GPIO_WritePin(Electromagnet_GPIO_Port, Electromagnet_Pin, GPIO_PIN_SET);
	HAL_Delay(2000);

	hasPackage = 1;
	junction_count = 0;
	junction_debounced = 0;

	if (total_delivered < 2) {
		    Motor_180_Turn();   // Box 1 and Box 2
		} else {
		    printf("3rd box picked - NO 180 turn\r\n");
		}

		robotState = STATE_PID;
		pid_I = 0;
		previousError = 0;
}
/*
 * Function Name: Handle_Drop_Point
 * Input: None
 * Output: None
 * Logic:
 *  - Turns OFF electromagnet
 *  - Releases box
 *  - Updates delivery count
 * Example Call: Handle_Drop_Point();
 */
void Handle_Drop_Point(void)
{
	printf("Dropping package...\r\n");

	HAL_GPIO_WritePin(Electromagnet_GPIO_Port, Electromagnet_Pin, GPIO_PIN_RESET);
	HAL_Delay(1000);

	printf("Package dropped!\r\n");

	hasPackage = 0;

	robotState = STATE_PID;
	pid_I = 0;
	previousError = 0;
}
/*
 * Function Name: RGB_Off
 * Input: None
 * Output: None
 * Logic: Turns OFF all RGB LEDs
 * Example Call: RGB_Off();
 */
void RGB_Off(void)
{
    HAL_GPIO_WritePin(GPIOC, RED_Pin|GREEN_Pin|BLUE_Pin, GPIO_PIN_RESET);
}
/*
 * Function Name: RGB_Yellow
 * Input: None
 * Output: None
 * Logic: Turns ON red and green LEDs to show yellow color
 * Example Call: RGB_Yellow();
 */
void RGB_Yellow(void)
{
    HAL_GPIO_WritePin(GPIOC, RED_Pin, GPIO_PIN_SET);
    HAL_GPIO_WritePin(GPIOC, GREEN_Pin, GPIO_PIN_SET);
    HAL_GPIO_WritePin(GPIOC, BLUE_Pin, GPIO_PIN_RESET);
}
/*
 * Function Name: RGB_Process
 * Input: None
 * Output: None
 * Logic: Handles LED blinking based on ledBlinkRequest flag
 * Example Call: RGB_Process();
 */
void RGB_Process(void)
{
    if (ledBlinkRequest)
    {
        if (HAL_GetTick() - ledBlinkStart < 80)
        {
            RGB_Yellow();
        }
        else
        {
            RGB_Off();
            ledBlinkRequest = 0;
        }
    }
}
/* USER CODE END 4 */

void Error_Handler(void)
{
  __disable_irq();
  while (1)
  {
  }
}
